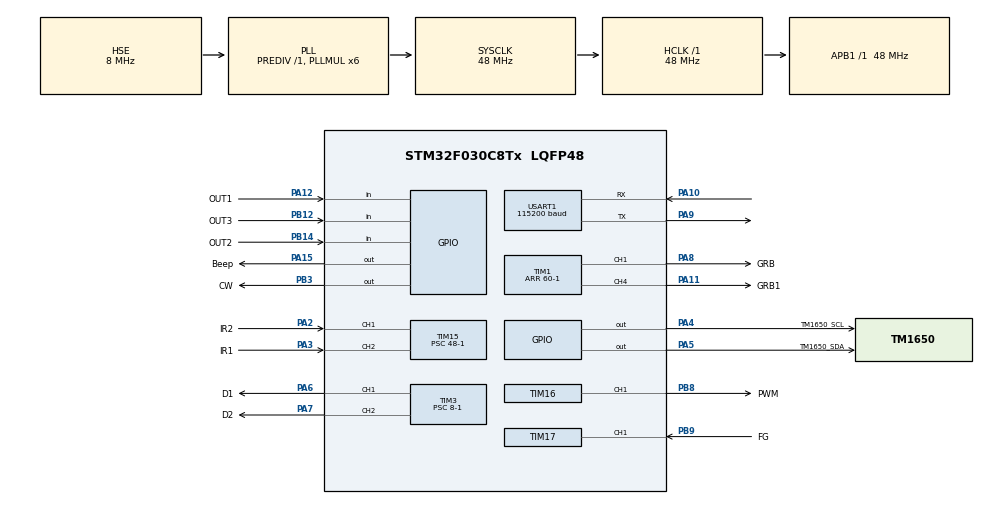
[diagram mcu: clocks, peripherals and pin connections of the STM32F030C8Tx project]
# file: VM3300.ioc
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Dma.Request0=TIM1_CH1
Dma.Request1=TIM1_CH4/TRIG/COM
Dma.TIM1_CH1.0.Direction=DMA_MEMORY_TO_PERIPH
Dma.TIM1_CH1.0.Instance=DMA1_Channel2
Dma.TIM1_CH1.0.MemDataAlignment=DMA_MDATAALIGN_HALFWORD
Dma.TIM1_CH1.0.MemInc=DMA_MINC_ENABLE
Dma.TIM1_CH1.0.Mode=DMA_NORMAL
Dma.TIM1_CH1.0.PeriphDataAlignment=DMA_PDATAALIGN_HALFWORD
Dma.TIM1_CH1.0.PeriphInc=DMA_PINC_DISABLE
Dma.TIM1_CH1.0.Priority=DMA_PRIORITY_MEDIUM
Dma.TIM1_CH4/TRIG/COM.1.Direction=DMA_MEMORY_TO_PERIPH
Dma.TIM1_CH4/TRIG/COM.1.Instance=DMA1_Channel4
Dma.TIM1_CH4/TRIG/COM.1.MemDataAlignment=DMA_MDATAALIGN_HALFWORD
Dma.TIM1_CH4/TRIG/COM.1.MemInc=DMA_MINC_ENABLE
Dma.TIM1_CH4/TRIG/COM.1.Mode=DMA_NORMAL
Dma.TIM1_CH4/TRIG/COM.1.PeriphDataAlignment=DMA_PDATAALIGN_HALFWORD
Dma.TIM1_CH4/TRIG/COM.1.PeriphInc=DMA_PINC_DISABLE
Dma.TIM1_CH4/TRIG/COM.1.Priority=DMA_PRIORITY_MEDIUM
Mcu.Family=STM32F0
Mcu.Name=STM32F030C8Tx
Mcu.Package=LQFP48
NVIC.DMA1_Channel2_3_IRQn=true\:0\:0\:false\:false\:true\:false\:true\:true
NVIC.DMA1_Channel4_5_IRQn=true\:0\:0\:false\:false\:true\:false\:true\:true
NVIC.TIM15_IRQn=true\:0\:0\:true\:false\:true\:true\:true\:true
NVIC.TIM17_IRQn=true\:0\:0\:false\:false\:true\:true\:true\:true
NVIC.TIM6_IRQn=true\:0\:0\:false\:false\:true\:true\:true\:true
NVIC.USART1_IRQn=true\:1\:0\:true\:false\:true\:true\:true\:true
PA10.Mode=Asynchronous
PA10.Signal=USART1_RX
PA11.GPIO_Label=GRB1
PA11.Signal=S_TIM1_CH4
PA12.GPIO_Label=OUT1
PA12.Signal=GPIO_Input
PA13.Mode=Serial_Wire
PA13.Signal=SYS_SWDIO
PA14.Mode=Serial_Wire
PA14.Signal=SYS_SWCLK
PA15.GPIO_Label=Beep
PA15.Signal=GPIO_Output
PA2.GPIO_Label=IR2
PA2.Signal=S_TIM15_CH1
PA3.GPIO_Label=IR1
PA3.Signal=S_TIM15_CH2
PA4.GPIO_Label=TM1650_SCL
PA4.GPIO_PuPd=GPIO_PULLUP
PA4.GPIO_Speed=GPIO_SPEED_FREQ_HIGH
PA4.PinState=GPIO_PIN_SET
PA4.Signal=GPIO_Output
PA5.GPIO_Label=TM1650_SDA
PA5.GPIO_PuPd=GPIO_PULLUP
PA5.GPIO_Speed=GPIO_SPEED_FREQ_HIGH
PA5.PinState=GPIO_PIN_SET
PA5.Signal=GPIO_Output
PA6.GPIO_Label=D1
PA6.Signal=S_TIM3_CH1
PA7.GPIO_Label=D2
PA7.Signal=S_TIM3_CH2
PA8.GPIO_Label=GRB
PA8.Signal=S_TIM1_CH1
PA9.Mode=Asynchronous
PA9.Signal=USART1_TX
PB12.GPIO_Label=OUT3
PB12.Signal=GPIO_Input
PB14.GPIO_Label=OUT2
PB14.Signal=GPIO_Input
PB3.GPIO_Label=CW
PB3.Signal=GPIO_Output
PB8.GPIO_Label=PWM
PB8.Signal=S_TIM16_CH1
PB9.GPIO_Label=FG
PB9.Signal=S_TIM17_CH1
PF0-OSC_IN.Mode=HSE-External-Oscillator
PF0-OSC_IN.Signal=RCC_OSC_IN
PF1-OSC_OUT.Mode=HSE-External-Oscillator
PF1-OSC_OUT.Signal=RCC_OSC_OUT
ProjectManager.HeapSize=0x200
ProjectManager.StackSize=0x400
ProjectManager.TargetToolchain=MDK-ARM V5.32
RCC.AHBFreq_Value=48000000
RCC.APB1Freq_Value=48000000
RCC.APB1TimFreq_Value=48000000
RCC.HCLKFreq_Value=48000000
RCC.PLLMUL=RCC_PLL_MUL6
RCC.PLLSourceVirtual=RCC_PLLSOURCE_HSE
RCC.SYSCLKFreq_VALUE=48000000
RCC.SYSCLKSource=RCC_SYSCLKSOURCE_PLLCLK
SH.S_TIM15_CH1.0=TIM15_CH1,Input_Capture1_from_TI1
SH.S_TIM15_CH2.0=TIM15_CH2,Input_Capture2_from_TI2
SH.S_TIM16_CH1.0=TIM16_CH1,PWM Generation1 CH1
SH.S_TIM17_CH1.0=TIM17_CH1,Input_Capture1_from_TI1
SH.S_TIM1_CH1.0=TIM1_CH1,PWM Generation1 CH1
SH.S_TIM1_CH4.0=TIM1_CH4,PWM Generation4 CH4
SH.S_TIM3_CH1.0=TIM3_CH1,PWM Generation1 CH1
SH.S_TIM3_CH2.0=TIM3_CH2,PWM Generation2 CH2
TIM1.Channel-PWM\ Generation1\ CH1=TIM_CHANNEL_1
TIM1.Channel-PWM\ Generation4\ CH4=TIM_CHANNEL_4
TIM1.Period=60-1
TIM1.Pulse-PWM\ Generation1\ CH1=0
TIM1.Pulse-PWM\ Generation4\ CH4=0
TIM15.Channel-Input_Capture1_from_TI1=TIM_CHANNEL_1
TIM15.Channel-Input_Capture2_from_TI2=TIM_CHANNEL_2
TIM15.ICPolarity_CH1=TIM_INPUTCHANNELPOLARITY_RISING
TIM15.ICPolarity_CH2=TIM_INPUTCHANNELPOLARITY_RISING
TIM15.Period=65535
TIM15.Prescaler=48-1
TIM16.Channel=TIM_CHANNEL_1
TIM16.OCPolarity_1=TIM_OCPOLARITY_HIGH
TIM16.Period=200-1
TIM16.Prescaler=12-1
TIM17.Channel=TIM_CHANNEL_1
TIM17.Prescaler=4800-1
TIM3.Channel-PWM\ Generation1\ CH1=TIM_CHANNEL_1
TIM3.Channel-PWM\ Generation2\ CH2=TIM_CHANNEL_2
TIM3.Period=158-1
TIM3.Prescaler=8-1
TIM6.AutoReloadPreload=TIM_AUTORELOAD_PRELOAD_DISABLE
TIM6.Period=10-1
TIM6.Prescaler=48-1
USART1.BaudRate=115200
USART1.VirtualMode-Asynchronous=VM_ASYNC
VP_TIM15_VS_ClockSourceINT.Mode=Internal
VP_TIM16_VS_ClockSourceINT.Mode=Enable_Timer
VP_TIM17_VS_ClockSourceINT.Mode=Enable_Timer
VP_TIM6_VS_ClockSourceINT.Mode=Enable_Timer
board=custom

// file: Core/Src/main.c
/* USER CODE BEGIN Header */
/**
  ******************************************************************************
  * @file           : main.c
  * @brief          : Main program body
  ******************************************************************************
  * @attention
  *
  * Copyright (c) 2024 STMicroelectronics.
  * All rights reserved.
  *
  * This software is licensed under terms that can be found in the LICENSE file
  * in the root directory of this software component.
  * If no LICENSE file comes with this software, it is provided AS-IS.
  *
  ******************************************************************************
  */
/* USER CODE END Header */
#include "main.h"
#include "dma.h"
#include "tim.h"
#include "usart.h"
#include "gpio.h"

void SystemClock_Config(void);

/* USER CODE BEGIN 0 */
//遥控器接收状态
//[7]:收到了引导码标志
//[6]:得到了一个按键的所有信息
//[5]:保留
//[4]:标记上升沿是否已经被捕获
//[3:0]:溢出计时器
uint8_t 	RmtSta=0;
uint16_t Dval;		//下降沿时计数器的值
uint32_t RmtRec=0;	//红外接收到的数据
uint8_t  RmtCnt=0;	//按键按下的次数
uint8_t  key;
/* USER CODE END 0 */
uint8_t Remote_Scan(void);
int main(void)
{

  /* MCU Configuration--------------------------------------------------------*/

  /* Reset of all peripherals, Initializes the Flash interface and the Systick. */
  HAL_Init();

  /* Configure the system clock */
  SystemClock_Config();

  /* Initialize all configured peripherals */
  MX_GPIO_Init();
  MX_DMA_Init();
  MX_TIM1_Init();
  MX_TIM3_Init();
  MX_TIM15_Init();
  MX_TIM16_Init();
  MX_USART1_UART_Init();
  MX_TIM17_Init();
  MX_TIM6_Init();
  /* USER CODE BEGIN 2 */
	System_Init();//系统驱动初始化
  /* USER CODE END 2 */
    HAL_TIM_Base_Start_IT(&htim15);
    HAL_TIM_IC_Start_IT(&htim15,TIM_CHANNEL_2);
  /* Infinite loop */
  /* USER CODE BEGIN WHILE */
  while (1)
  {
      key=Remote_Scan();
//      printf("%d\r\n",Dval);
		if(key)
		{
//            printf("key=%d\r\n",key);
//            printf("num=%d\r\n",RmtCnt);

        }
        HAL_Delay(1000);
    /* USER CODE END WHILE */

  }
}

void SystemClock_Config(void)
{
  RCC_OscInitTypeDef RCC_OscInitStruct = {0};
  RCC_ClkInitTypeDef RCC_ClkInitStruct = {0};
  RCC_PeriphCLKInitTypeDef PeriphClkInit = {0};

  /** Initializes the RCC Oscillators according to the specified parameters
  * in the RCC_OscInitTypeDef structure.
  */
  RCC_OscInitStruct.OscillatorType = RCC_OSCILLATORTYPE_HSE;
  RCC_OscInitStruct.HSEState = RCC_HSE_ON;
  RCC_OscInitStruct.PLL.PLLState = RCC_PLL_ON;
  RCC_OscInitStruct.PLL.PLLSource = RCC_PLLSOURCE_HSE;
  RCC_OscInitStruct.PLL.PLLMUL = RCC_PLL_MUL6;
  RCC_OscInitStruct.PLL.PREDIV = RCC_PREDIV_DIV1;
  if (HAL_RCC_OscConfig(&RCC_OscInitStruct) != HAL_OK)
  {
    Error_Handler();
  }

  /** Initializes the CPU, AHB and APB buses clocks
  */
  RCC_ClkInitStruct.ClockType = RCC_CLOCKTYPE_HCLK|RCC_CLOCKTYPE_SYSCLK
                              |RCC_CLOCKTYPE_PCLK1;
  RCC_ClkInitStruct.SYSCLKSource = RCC_SYSCLKSOURCE_PLLCLK;
  RCC_ClkInitStruct.AHBCLKDivider = RCC_SYSCLK_DIV1;
  RCC_ClkInitStruct.APB1CLKDivider = RCC_HCLK_DIV1;

  if (HAL_RCC_ClockConfig(&RCC_ClkInitStruct, FLASH_LATENCY_1) != HAL_OK)
  {
    Error_Handler();
  }
  PeriphClkInit.PeriphClockSelection = RCC_PERIPHCLK_USART1;
  PeriphClkInit.Usart1ClockSelection = RCC_USART1CLKSOURCE_PCLK1;
  if (HAL_RCCEx_PeriphCLKConfig(&PeriphClkInit) != HAL_OK)
  {
    Error_Handler();
  }
}

/* USER CODE BEGIN 4 */
////遥控器接收状态
////[7]:收到了引导码标志
////[6]:得到了一个按键的所有信息
////[5]:保留
////[4]:标记上升沿是否已经被捕获
////[3:0]:溢出计时器
//uint8_t 	RmtSta=0;
//uint16_t Dval;		//下降沿时计数器的值
//uint32_t RmtRec=0;	//红外接收到的数据
//uint8_t  RmtCnt=0;	//按键按下的次数

//定时器更新（溢出）中断回调函数
void HAL_TIM_PeriodElapsedCallback(TIM_HandleTypeDef *htim)
{
//    printf("over\r\n");
 if(htim->Instance==TIM15){
 		if(RmtSta&0x80)//上次有数据被接收到了
		{
			RmtSta&=~0X10;						//取消上升沿已经被捕获标记
			if((RmtSta&0X0F)==0X00)RmtSta|=1<<6;//标记已经完成一次按键的键值信息采集
			if((RmtSta&0X0F)<14)RmtSta++;
			else
			{
				RmtSta&=~(1<<7);//清空引导标识
				RmtSta&=0XF0;	//清空计数器
			}
		}

 }
}

//定时器输入捕获中断回调函数
void HAL_TIM_IC_CaptureCallback(TIM_HandleTypeDef *htim)//捕获中断发生时执行
{
//    printf("ic\r\n");
 if(htim->Instance==TIM15)
{
 	if(HAL_GPIO_ReadPin(IR2_GPIO_Port, IR2_Pin))//上升沿捕获
	{
		TIM_RESET_CAPTUREPOLARITY(&htim15,TIM_CHANNEL_2);   //一定要先清除原来的设置！！
        TIM_SET_CAPTUREPOLARITY(&htim15,TIM_CHANNEL_2,TIM_ICPOLARITY_FALLING);//CC1P=1 设置为下降沿捕获
        __HAL_TIM_SET_COUNTER(&htim15,0);  //清空定时器值
		  	RmtSta|=0X10;					//标记上升沿已经被捕获
	}else //下降沿捕获
	{
        Dval=HAL_TIM_ReadCapturedValue(&htim15,TIM_CHANNEL_2);//读取CCR1也可以清CC1IF标志位
        TIM_RESET_CAPTUREPOLARITY(&htim15,TIM_CHANNEL_2);   //一定要先清除原来的设置！！
        TIM_SET_CAPTUREPOLARITY(&htim15,TIM_CHANNEL_2,TIM_ICPOLARITY_RISING);//配置TIM5通道1上升沿捕获
		if(RmtSta&0X10)					//完成一次高电平捕获
		{
			if(RmtSta&0X80)//接收到了引导码
			{

				if(Dval>300&&Dval<800)			//560为标准值,560us
				{
					RmtRec<<=1;	//左移一位.
					RmtRec|=0;	//接收到0
				}else if(Dval>1400&&Dval<1800)	//1680为标准值,1680us
				{
					RmtRec<<=1;	//左移一位.
					RmtRec|=1;	//接收到1
				}else if(Dval>2200&&Dval<2600)	//得到按键键值增加的信息 2500为标准值2.5ms
				{
					RmtCnt++; 		//按键次数增加1次
					RmtSta&=0XF0;	//清空计时器
				}
			}else if(Dval>4200&&Dval<4700)		//4500为标准值4.5ms
				{
					RmtSta|=1<<7;	//标记成功接收到了引导码
					RmtCnt=0;		//清除按键次数计数器
				}
			}
		RmtSta&=~(1<<4);
		}
	}
}
#define REMOTE_ID 0
//处理红外键盘
//返回值:
//	 0,没有任何按键按下
//其他,按下的按键键值.
uint8_t Remote_Scan(void)
{
	uint8_t sta=0;
    uint8_t t1,t2;
	if(RmtSta&(1<<6))//得到一个按键的所有信息了
	{
	    t1=RmtRec>>24;			//得到地址码
	    t2=(RmtRec>>16)&0xff;	//得到地址反码
 	    if((t1==(uint8_t)~t2)&&t1==REMOTE_ID)//检验遥控识别码(ID)及地址
	    {
	        t1=RmtRec>>8;
	        t2=RmtRec;
	        if(t1==(uint8_t)~t2)sta=t1;//键值正确
		}
		if((sta==0)||((RmtSta&0X80)==0))//按键数据错误/遥控已经没有按下了
		{
		 	RmtSta&=~(1<<6);//清除接收到有效按键标识
			RmtCnt=0;		//清除按键次数计数器
		}
	}
    return sta;
}
/* USER CODE END 4 */

void Error_Handler(void)
{
  __disable_irq();
  while (1)
  {
  }
}
